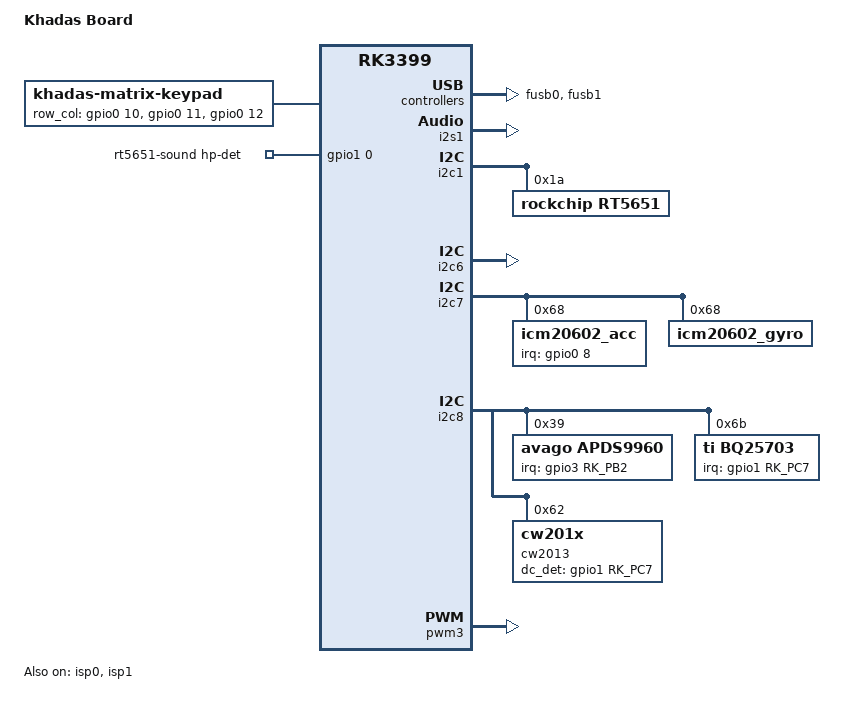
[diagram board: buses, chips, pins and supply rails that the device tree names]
// SPDX-License-Identifier: (GPL-2.0+ OR MIT)
/*
 * Copyright (c) 2018 Fuzhou Rockchip Electronics Co., Ltd
 */

/dts-v1/;

#include "rk3399-khadas-edge.dtsi"
#include <dt-bindings/sensor-dev.h>
#include <dt-bindings/input/input.h>

/ {
	model = "Khadas Board";
	compatible = "Khadas,edge", "Khadas,edge-io", "rockchip,rk3399";
	chosen {
	bootargs = "earlycon=uart8250,mmio32,0xff1a0000 swiotlb=1 console=ttyFIQ0 androidboot.baseband=N/A androidboot.veritymode=enforcing androidboot.hardware=rk30board androidboot.console=ttyFIQ0 init=/init initrd=0x62000001,0x00800000 coherent_pool=1m";
	};
    khadas-matrix-keypad {
		status = "okay";
		compatible = "khadas-matrix-keypad";
		row_col_gpio =
				<&gpio0 10 GPIO_ACTIVE_HIGH>,
				<&gpio0 11 GPIO_ACTIVE_HIGH>,
				<&gpio0 12 GPIO_ACTIVE_HIGH>;
		pinctrl-names = "default";
		pinctrl-0 = <&matrix_gpio>;
		debounce-delay-ms = <10>;
		col-scan-delay-us = <10>;
		linux,no-autorepeat;
	};

	rt5651-sound {
		status = "okay";
		compatible = "simple-audio-card";

		pinctrl-names = "default";
		pinctrl-0 = <&rt5651_hpdet>;


		simple-audio-card,format = "i2s";
		simple-audio-card,name = "realtek,rt5651-codec";
		simple-audio-card,mclk-fs = <256>;
		simple-audio-card,hp-det-gpio = <&gpio1 0 GPIO_ACTIVE_HIGH>;
		simple-audio-card,widgets =
			"Microphone", "Mic Jack",
			"Headphone", "Headphone Jack";
		simple-audio-card,routing =
			"Mic Jack", "MICBIAS1",
			"IN1P", "Mic Jack",
			"Headphone Jack", "HPOL",
			"Headphone Jack", "HPOR";
		simple-audio-card,cpu {
			sound-dai = <&i2s1>;
		};
		simple-audio-card,codec {
			sound-dai = <&rt5651>;
		};
	};
};
&firmware_android {
       compatible = "android,firmware";
       boot_devices = "fe330000.sdhci";
       vbmeta {
               compatible = "android,vbmeta";
               parts = "vbmeta,boot,system,vendor,dtbo";
       };
       fstab {
               compatible = "android,fstab";
               vendor {
                       compatible = "android,vendor";
                       dev = "/dev/block/by-name/vendor";
                       type = "ext4";
                       mnt_flags = "ro,barrier=1,inode_readahead_blks=8";
                       fsmgr_flags = "wait,avb";
		};
	};
};

&fusb0 {
	status = "okay";
	max-input-voltage = <13000000>;
	max-input-current = <6000000>;
	charge-dev = <&bq25703>;
};

&fusb1 {
	status = "okay";
	max-input-voltage = <13000000>;
	max-input-current = <6000000>;
	charge-dev = <&bq25703>;
};

&i2s1 {
	status = "okay";
	rockchip,i2s-broken-burst-len;
	rockchip,playback-channels = <2>;
	rockchip,capture-channels = <2>;
	#sound-dai-cells = <0>;
};

&isp0_mmu {
	status = "okay";
};

&isp0 {
	status = "okay";

	pinctrl-names =
		"cif_clkout", "isp_dvp8bit0", "isp_mipi_fl";

	/delete-property/ pinctrl-3;
	/delete-property/ pinctrl-4;
	/delete-property/ pinctrl-5;
	/delete-property/ rockchip,gpios;
};

&isp1_mmu {
	status = "okay";
};

&isp1 {
	status = "okay";

	pinctrl-names =
		"cif_clkout", "isp_dvp8bit0", "isp_mipi_fl";

	/delete-property/ pinctrl-3;
	/delete-property/ pinctrl-4;
	/delete-property/ pinctrl-5;
	/delete-property/ rockchip,gpios;
};

&i2c1 {
	status = "okay";
	i2c-scl-rising-time-ns = <300>;
	i2c-scl-falling-time-ns = <15>;

	rt5651: rt5651@1a {
		#sound-dai-cells = <0>;
		compatible = "rockchip,rt5651";
		reg = <0x1a>;
		clocks = <&cru SCLK_I2S_8CH_OUT>;
		clock-names = "mclk";
		pinctrl-names = "default";
		pinctrl-0 = <&i2s_8ch_mclk>;
		status = "okay";
	};
};

&i2c6 {
	status = "okay";
};

&i2c7 {
	status = "okay";

	icm20602_acc: icm_acc@68 {
		compatible = "icm20602_acc";
		reg = <0x68>;
		irq-gpio = <&gpio0 8 IRQ_TYPE_LEVEL_LOW>; /* GPIO0_B0 */
		irq_enable = <0>;
		poll_delay_ms = <30>;
		type = <SENSOR_TYPE_ACCEL>;
		layout = <9>;
	};

	icm20602_gyro: icm_gyro@68 {
		compatible = "icm20602_gyro";
		reg = <0x68>;
		irq_enable = <0>;
		poll_delay_ms = <30>;
		type = <SENSOR_TYPE_GYROSCOPE>;
		layout = <7>;
	};
};

&i2c8 {
	status = "okay";
	i2c-scl-rising-time-ns = <600>;
	i2c-scl-falling-time-ns = <20>;

	apds9960@39 {
		compatible = "avago,apds9960";
		reg = <0x39>;
		interrupt-parent = <&gpio3>;
		interrupts = <RK_PB2 IRQ_TYPE_LEVEL_LOW>;
		pinctrl-names = "default";
		pinctrl-0 = <&apds_int_l>;
	};

	bq25703: bq25703@6b {
		compatible = "ti,bq25703";
		reg = <0x6b>;
		extcon = <&fusb0>, <&fusb1>;
		interrupt-parent = <&gpio1>;
		interrupts = <RK_PC7 IRQ_TYPE_LEVEL_LOW>; /* GPIO1_C7 */
		pinctrl-names = "default";
		pinctrl-0 = <&charger_ok>;
		ti,charge-current = <1500000>;
		ti,max-charge-voltage = <8500000>;
		ti,max-input-voltage = <20000000>;
		ti,max-input-current = <6000000>;
		ti,input-current-sdp = <500000>;
		ti,input-current-dcp = <2000000>;
		ti,input-current-cdp = <2000000>;
		ti,input-current-dc = <2000000>;
		ti,minimum-sys-voltage = <7400000>;
		ti,otg-voltage = <5000000>;
		ti,otg-current = <500000>;
		ti,input-current = <500000>;
		pd-charge-only = <0>;
		status = "okay";
	};

	cw2013: cw2013@62 {
		status = "okay";
		compatible = "cw201x";
		reg = <0x62>;
		bat_config_info = <0x15 0x7F 0x6E 0x66 0x65 0x5C 0x5B 0x59
				0x58 0x57 0x57 0x54 0x53 0x51 0x4B 0x48
				0x40 0x33 0x2A 0x26 0x23 0x25 0x2A 0x34
				0x45 0x4F 0x0C 0xCD 0x44 0x68 0x67 0x68
				0x6E 0x6F 0x6C 0x68 0x3A 0x10 0x8A 0x01
				0x01 0x54 0x52 0x87 0x8F 0x91 0x94 0x52
				0x82 0x8C 0x92 0x96 0x82 0xFF 0xFF 0xCB
				0x2F 0x7D 0x64 0xA5 0xB5 0x13 0x58 0x09>;
		monitor_sec = <5>;
		virtual_power = <0>;
		divider_res1 = <200>;
		divider_res2 = <200>;
		dc_det_gpio = <&gpio1 RK_PC7 GPIO_ACTIVE_HIGH>;
	};
};

&rk_key {
	enter-key {
		linux,code = <232>;
		label = "enter";
		rockchip,adc_value = <170>;
	};
};


&pwm3 {
	status = "okay";

	interrupts = <GIC_SPI 61 IRQ_TYPE_LEVEL_HIGH 0>;
	compatible = "rockchip,remotectl-pwm";
	remote_pwm_id = <3>;
	handle_cpu_id = <1>;
	remote_support_psci = <1>;
	pinctrl-names = "default";
	pinctrl-0 = <&pwm3b_pin>;

	ir_key1 {
		rockchip,usercode = <0xff00>;
		rockchip,key_table =
			<0xeb   KEY_POWER>,
			<0xec   KEY_MENU>,
			<0xfc   KEY_UP>,
			<0xfd   KEY_DOWN>,
			<0xf1   KEY_LEFT>,
			<0xe5   KEY_RIGHT>,
			<0xf8   232>,
			<0xa7   KEY_VOLUMEDOWN>,
			<0xa3    388>,  //mouse func
			<0xa4    388>,  //mouse func
			<0xf4   KEY_VOLUMEUP>,
			<0xfe   KEY_BACK>,
			<0xb7   KEY_HOME>;

	};

};

&pinctrl {
	matrix {
		matrix_gpio: matrix_gpio {
			rockchip,pins =
				<0 10 RK_FUNC_GPIO &pcfg_pull_up>,
				<0 11 RK_FUNC_GPIO &pcfg_pull_up>,
				<0 12 RK_FUNC_GPIO &pcfg_pull_up>;
		};
	};

	apds_int_l: apds-int-l {
		rockchip,pins = <3 10 RK_FUNC_GPIO &pcfg_pull_up>;
	};

	charger {
		charger_ok: charge-ok {
			rockchip,pins = <1 RK_PC7 RK_FUNC_GPIO &pcfg_pull_up>; /* GPIO1_C7 */
		};
	};

	rt5651 {
		rt5651_hpdet: rt5651-hpdet {
			rockchip,pins = <1 0 RK_FUNC_GPIO &pcfg_pull_up>; /* GPIO1_A0 */
		};
	};
};
